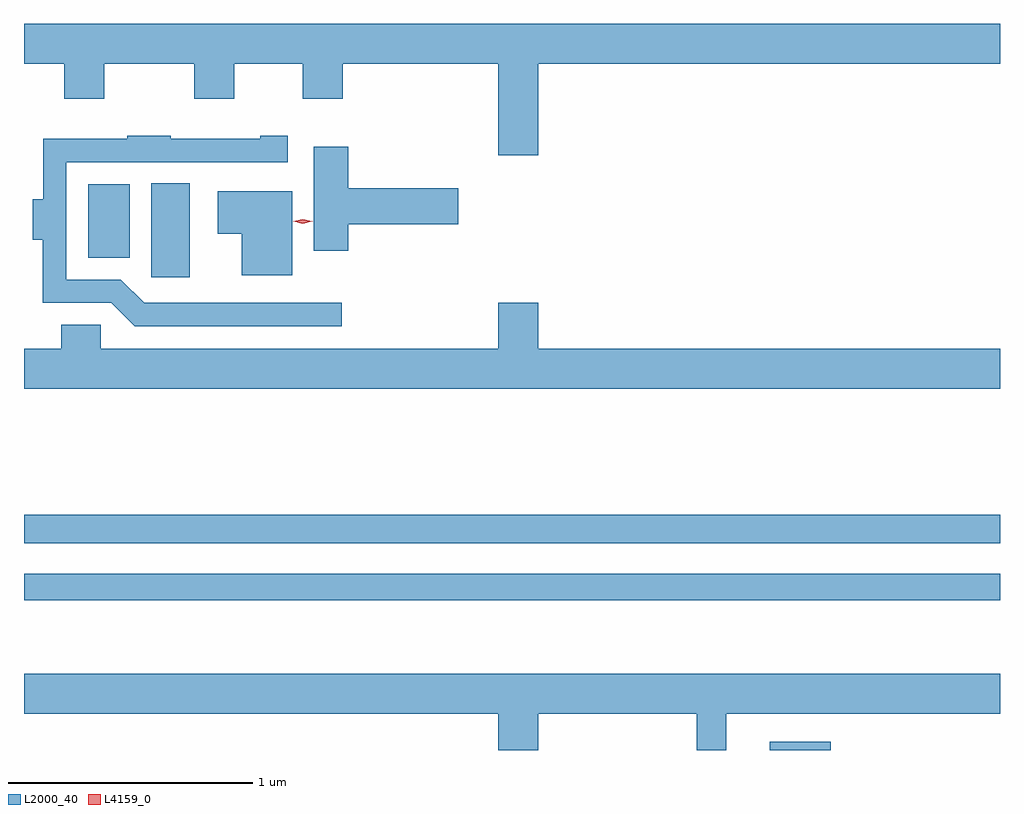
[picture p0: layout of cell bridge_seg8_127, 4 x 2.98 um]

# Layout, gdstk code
import gdstk
lib = gdstk.Library(unit=1e-6, precision=1e-09)
def R(c, l, rs):  # rectangles x0, y0, x1, y1
    for r in rs: c.add(gdstk.rectangle(r[:2], r[2:], *l))
def P(c, l, *ps):  # polygons
    for p in ps: c.add(gdstk.Polygon(p, *l))
L2000_40 = (2000, 40)
L4159_0 = (4159, 0)

bridge_seg8_127 = lib.new_cell('bridge_seg8_127')
R(bridge_seg8_127, L2000_40, [(825.461,1119.015,825.712,1119.049), (822.405,1119.63,826.405,1119.738), (822.405,1119.864,826.405,1119.98), (822.926,1120.953,823.084,1121.339), (822.668,1121.033,822.838,1121.335)])
P(bridge_seg8_127, L2000_40, [(822.405,1121.828),(822.569,1121.828),(822.569,1121.685),(822.733,1121.685),(822.733,1121.828),(823.103,1121.828),(823.103,1121.685),(823.267,1121.685),(823.267,1121.828),(823.547,1121.828),(823.547,1121.685),(823.711,1121.685),(823.711,1121.828),(824.348,1121.828),(824.348,1121.454),(824.512,1121.454),(824.512,1121.828),(826.405,1121.828),(826.405,1121.992),(822.405,1121.992)],
  [(823.708,1120.848),(822.897,1120.848),(822.801,1120.944),(822.579,1120.944),(822.579,1121.424),(823.486,1121.424),(823.486,1121.533),(823.373,1121.533),(823.373,1121.521),(823.007,1121.521),(823.007,1121.533),(822.829,1121.533),(822.829,1121.521),(822.483,1121.521),(822.483,1121.272),(822.44,1121.272),(822.44,1121.108),(822.482,1121.108),(822.482,1120.848),(822.762,1120.848),(822.858,1120.752),(823.708,1120.752)],
  [(823.733,1121.171),(824.185,1121.171),(824.185,1121.318),(823.733,1121.318),(823.733,1121.488),(823.592,1121.488),(823.592,1121.061),(823.733,1121.061)],
  [(823.504,1121.305),(823.199,1121.305),(823.199,1121.132),(823.298,1121.132),(823.298,1120.961),(823.504,1120.961)],
  [(826.405,1120.66),(824.512,1120.66),(824.512,1120.849),(824.348,1120.849),(824.348,1120.66),(822.72,1120.66),(822.72,1120.758),(822.557,1120.758),(822.557,1120.66),(822.405,1120.66),(822.405,1120.496),(826.405,1120.496)],
  [(824.512,1119.164),(825.162,1119.164),(825.162,1119.015),(825.283,1119.015),(825.283,1119.164),(826.405,1119.164),(826.405,1119.328),(822.405,1119.328),(822.405,1119.164),(824.348,1119.164),(824.348,1119.015),(824.512,1119.015)])
P(bridge_seg8_127, L4159_0, [(823.548,1121.172),(823.509,1121.182),(823.509,1121.183),(823.509,1121.183),(823.548,1121.192),(823.587,1121.182),(823.588,1121.182),(823.587,1121.182)])

lib.write_gds('bridge_seg8_127.gds')
